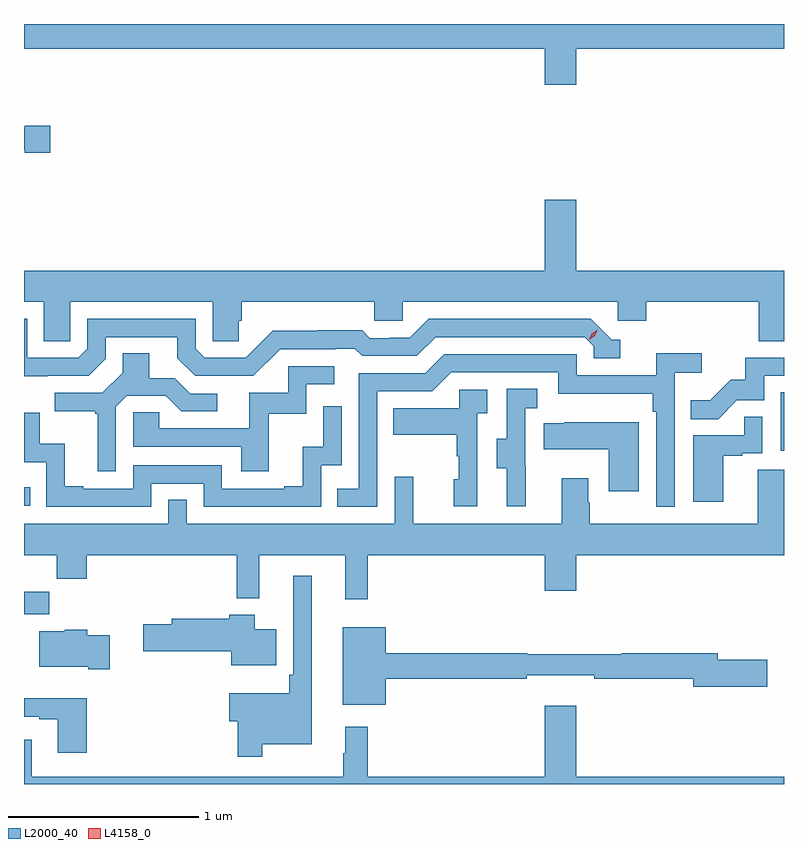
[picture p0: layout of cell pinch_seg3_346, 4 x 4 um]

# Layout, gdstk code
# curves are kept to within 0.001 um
import gdstk
lib = gdstk.Library(unit=1e-6, precision=1e-09)
def R(c, l, rs):  # rectangles x0, y0, x1, y1
    for r in rs: c.add(gdstk.rectangle(r[:2], r[2:], *l))
def P(c, l, *ps):  # polygons
    for p in ps: c.add(gdstk.Polygon(p, *l))
L2000_40 = (2000, 40)
L4158_0 = (4158, 0)

pinch_seg3_346 = lib.new_cell('pinch_seg3_346')
R(pinch_seg3_346, L2000_40, [(977.45,691.28,977.582,691.398), (977.45,691.851,977.483,691.948), (981.434,692.142,981.45,692.449)])
P(pinch_seg3_346, L2000_40, [(980.356,694.256),(981.45,694.256),(981.45,694.387),(977.45,694.387),(977.45,694.256),(980.192,694.256),(980.192,694.068),(980.356,694.068)],
  [(977.587,693.852),(977.454,693.852),(977.454,693.844),(977.45,693.844),(977.45,693.722),(977.454,693.722),(977.454,693.71),(977.587,693.71)],
  [(977.694,692.924),(978.444,692.924),(978.444,692.716),(978.581,692.716),(978.581,692.826),(978.596,692.826),(978.596,692.924),(979.293,692.924),(979.293,692.826),(979.443,692.826),(979.443,692.924),(980.574,692.924),(980.574,692.826),(980.726,692.826),(980.726,692.924),(981.317,692.924),(981.317,692.716),(981.45,692.716),(981.45,693.088),(980.356,693.088),(980.356,693.463),(980.192,693.463),(980.192,693.088),(977.45,693.088),(977.45,692.924),(977.555,692.924),(977.555,692.716),(977.694,692.716)],
  [(977.574,692.535),(977.79,692.535),(977.88,692.625),(977.88,692.739),(978.257,692.739),(978.257,692.629),(978.351,692.535),(978.657,692.535),(978.798,692.676),(979.091,692.676),(979.091,692.679),(979.19,692.679),(979.229,692.64),(979.518,692.64),(979.617,692.739),(980.4,692.739),(980.448,692.691),(980.448,692.628),(980.587,692.628),(980.587,692.724),(980.544,692.724),(980.433,692.835),(979.58,692.835),(979.481,692.736),(979.374,692.736),(979.374,692.733),(979.271,692.733),(979.229,692.776),(978.996,692.776),(978.996,692.773),(978.76,692.773),(978.618,692.631),(978.402,692.631),(978.354,692.679),(978.354,692.835),(977.784,692.835),(977.784,692.679),(977.736,692.631),(977.466,692.631),(977.466,692.835),(977.45,692.835),(977.45,692.534)],
  [(977.934,692.373),(977.991,692.43),(978.197,692.43),(978.278,692.349),(978.466,692.349),(978.466,692.442),(978.324,692.442),(978.244,692.522),(978.109,692.522),(978.109,692.654),(977.969,692.654),(977.969,692.552),(977.862,692.445),(977.613,692.445),(977.613,692.348),(977.826,692.348),(977.826,692.337),(977.837,692.337),(977.837,692.034),(977.934,692.034)],
  [(979.308,692.454),(979.599,692.454),(979.698,692.553),(980.262,692.553),(980.262,692.441),(980.758,692.441),(980.758,692.345),(980.778,692.345),(980.778,691.845),(980.874,691.845),(980.874,692.552),(981.016,692.552),(981.016,692.654),(980.777,692.654),(980.777,692.538),(980.358,692.538),(980.358,692.649),(979.661,692.649),(979.562,692.55),(979.212,692.55),(979.212,691.941),(979.099,691.941),(979.099,691.845),(979.308,691.845)],
  [(981.201,692.406),(981.345,692.406),(981.345,692.535),(981.45,692.535),(981.45,692.631),(981.247,692.631),(981.247,692.514),(981.17,692.514),(981.063,692.407),(980.959,692.407),(980.959,692.308),(981.103,692.308)],
  [(978.737,692.337),(978.936,692.337),(978.936,692.49),(979.084,692.49),(979.084,692.586),(978.84,692.586),(978.84,692.445),(978.635,692.445),(978.635,692.259),(978.161,692.259),(978.161,692.343),(978.024,692.343),(978.024,692.163),(978.593,692.163),(978.593,692.034),(978.737,692.034)],
  [(980.09,692.061),(980.088,692.061),(980.088,692.365),(980.152,692.365),(980.152,692.468),(979.992,692.468),(979.992,692.205),(979.937,692.205),(979.937,692.05),(979.991,692.05),(979.991,691.848),(980.09,691.848)],
  [(979.836,692.339),(979.888,692.339),(979.888,692.463),(979.74,692.463),(979.74,692.365),(979.393,692.365),(979.393,692.225),(979.728,692.225),(979.728,692.111),(979.738,692.111),(979.738,691.992),(979.712,691.992),(979.712,691.848),(979.836,691.848)],
  [(978.12,691.968),(978.396,691.968),(978.396,691.845),(979.014,691.845),(979.014,692.064),(979.122,692.064),(979.122,692.374),(979.026,692.374),(979.026,692.162),(978.917,692.162),(978.917,691.954),(978.821,691.954),(978.821,691.941),(978.492,691.941),(978.492,692.064),(978.024,692.064),(978.024,691.941),(977.761,691.941),(977.761,691.954),(977.665,691.954),(977.665,692.179),(977.532,692.179),(977.532,692.34),(977.45,692.34),(977.45,692.081),(977.568,692.081),(977.568,691.845),(978.12,691.845)],
  [(981.13,692.115),(981.23,692.115),(981.23,692.127),(981.336,692.127),(981.336,692.321),(981.241,692.321),(981.241,692.223),(980.972,692.223),(980.972,691.872),(981.13,691.872)],
  [(980.686,692.29),(980.293,692.29),(980.293,692.287),(980.185,692.287),(980.185,692.15),(980.528,692.15),(980.528,691.929),(980.686,691.929)],
  [(979.259,691.592),(980.192,691.592),(980.192,691.404),(980.356,691.404),(980.356,691.592),(981.45,691.592),(981.45,692.042),(981.311,692.042),(981.311,691.756),(980.427,691.756),(980.427,691.868),(980.419,691.868),(980.419,691.996),(980.279,691.996),(980.279,691.756),(979.499,691.756),(979.499,692.005),(979.401,692.005),(979.401,691.756),(978.306,691.756),(978.306,691.883),(978.21,691.883),(978.21,691.756),(977.45,691.756),(977.45,691.592),(977.623,691.592),(977.623,691.468),(977.78,691.468),(977.78,691.592),(978.571,691.592),(978.571,691.364),(978.689,691.364),(978.689,691.592),(979.142,691.592),(979.142,691.359),(979.259,691.359)],
  [(978.703,690.596),(978.964,690.596),(978.964,691.483),(978.867,691.483),(978.867,690.961),(978.847,690.961),(978.847,690.865),(978.53,690.865),(978.53,690.718),(978.574,690.718),(978.574,690.531),(978.703,690.531)],
  [(978.778,691.201),(978.664,691.201),(978.664,691.279),(978.53,691.279),(978.53,691.257),(978.227,691.257),(978.227,691.227),(978.078,691.227),(978.078,691.085),(978.542,691.085),(978.542,691.013),(978.778,691.013)],
  [(979.354,690.94),(980.096,690.94),(980.096,690.959),(980.452,690.959),(980.452,690.94),(980.972,690.94),(980.972,690.898),(981.361,690.898),(981.361,691.04),(981.1,691.04),(981.1,691.076),(980.596,691.076),(980.596,691.069),(980.099,691.069),(980.099,691.076),(979.354,691.076),(979.354,691.213),(979.127,691.213),(979.127,690.803),(979.354,690.803)],
  [(977.902,691.17),(977.782,691.17),(977.782,691.198),(977.664,691.198),(977.664,691.192),(977.531,691.192),(977.531,691.004),(977.789,691.004),(977.789,690.992),(977.902,690.992)],
  [(977.78,690.838),(977.45,690.838),(977.45,690.741),(977.531,690.741),(977.531,690.729),(977.627,690.729),(977.627,690.552),(977.78,690.552)],
  [(981.45,690.424),(980.356,690.424),(980.356,690.799),(980.192,690.799),(980.192,690.424),(979.259,690.424),(979.259,690.688),(979.142,690.688),(979.142,690.548),(979.131,690.548),(979.131,690.424),(977.491,690.424),(977.491,690.619),(977.45,690.619),(977.45,690.387),(981.45,690.387)])
P(pinch_seg3_346, L4158_0, [(980.424,692.725),(980.424,692.725),(980.439,692.758),(980.469,692.778),(980.469,692.778),(980.469,692.778),(980.454,692.745),(980.424,692.725)])

lib.write_gds('pinch_seg3_346.gds')
